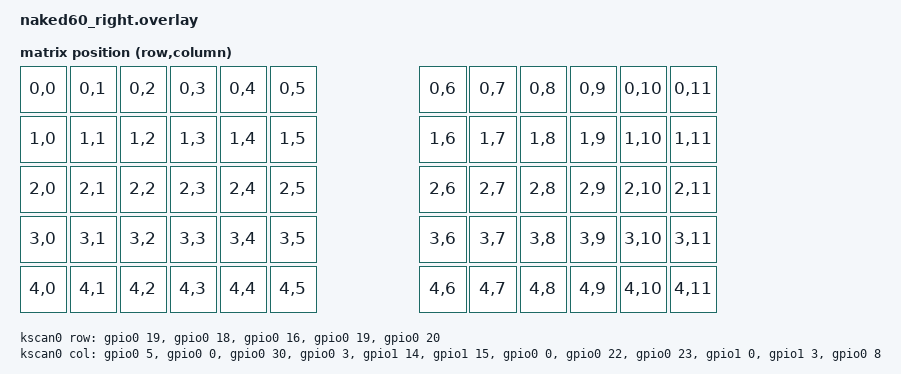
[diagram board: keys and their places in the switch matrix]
#include <dt-bindings/zmk/matrix_transform.h>
#include "layouts.dtsi"

/ {
    chosen {
        zmk,physical-layout = &physical_layout0;
    };

    default_transform: keymap_transform_0 {
        compatible = "zmk,matrix-transform";
        columns = <12>;
        rows = <5>;
        map = <
            RC(0,0) RC(0,1) RC(0,2) RC(0,3) RC(0,4) RC(0,5)                 RC(0,6) RC(0,7) RC(0,8)  RC(0,9) RC(0,10) RC(0,11)
            RC(1,0) RC(1,1) RC(1,2) RC(1,3) RC(1,4) RC(1,5)                 RC(1,6) RC(1,7) RC(1,8)  RC(1,9) RC(1,10) RC(1,11)
            RC(2,0) RC(2,1) RC(2,2) RC(2,3) RC(2,4) RC(2,5)                 RC(2,6) RC(2,7) RC(2,8)  RC(2,9) RC(2,10) RC(2,11)
            RC(3,0) RC(3,1) RC(3,2) RC(3,3) RC(3,4) RC(3,5)                 RC(3,6) RC(3,7) RC(3,8)  RC(3,9) RC(3,10) RC(3,11)
                    RC(4,0) RC(4,1) RC(4,2) RC(4,3) RC(4,4) RC(4,5) RC(4,6) RC(4,7) RC(4,8) RC(4,9) RC(4,10) RC(4,11)
        >;
        // 物理レイアウトの最初のキーから使用するため、オフセットは 0
        col-offset = <0>;
    };

    kscan0: kscan {
        compatible = "zmk,kscan-gpio-matrix";
        wakeup-source;

        diode-direction = "col2row";
        row-gpios
            = <&gpio0 19 (GPIO_ACTIVE_HIGH | GPIO_PULL_DOWN)>
            , <&gpio0 18 (GPIO_ACTIVE_HIGH | GPIO_PULL_DOWN)>
            , <&gpio0 16 (GPIO_ACTIVE_HIGH | GPIO_PULL_DOWN)>
            , <&gpio0 19 (GPIO_ACTIVE_HIGH | GPIO_PULL_DOWN)>
            , <&gpio0 20 (GPIO_ACTIVE_HIGH | GPIO_PULL_DOWN)>
            ;
        col-gpios
            = <&gpio0 5 GPIO_ACTIVE_HIGH>
            , <&gpio0 0 GPIO_ACTIVE_HIGH>
            , <&gpio0 30 GPIO_ACTIVE_HIGH>
            , <&gpio0 3 GPIO_ACTIVE_HIGH>
            , <&gpio1 14 GPIO_ACTIVE_HIGH>
            , <&gpio1 15 GPIO_ACTIVE_HIGH>
            , <&gpio0 0 GPIO_ACTIVE_HIGH>
            , <&gpio0 22 GPIO_ACTIVE_HIGH>
            , <&gpio0 23 GPIO_ACTIVE_HIGH>
            , <&gpio1 0 GPIO_ACTIVE_HIGH>
            , <&gpio1 3 GPIO_ACTIVE_HIGH>
            , <&gpio0 8 GPIO_ACTIVE_HIGH>
            ;
    };
};

&physical_layout0 {
    kscan = <&kscan0>;
    transform = <&default_transform>;
};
